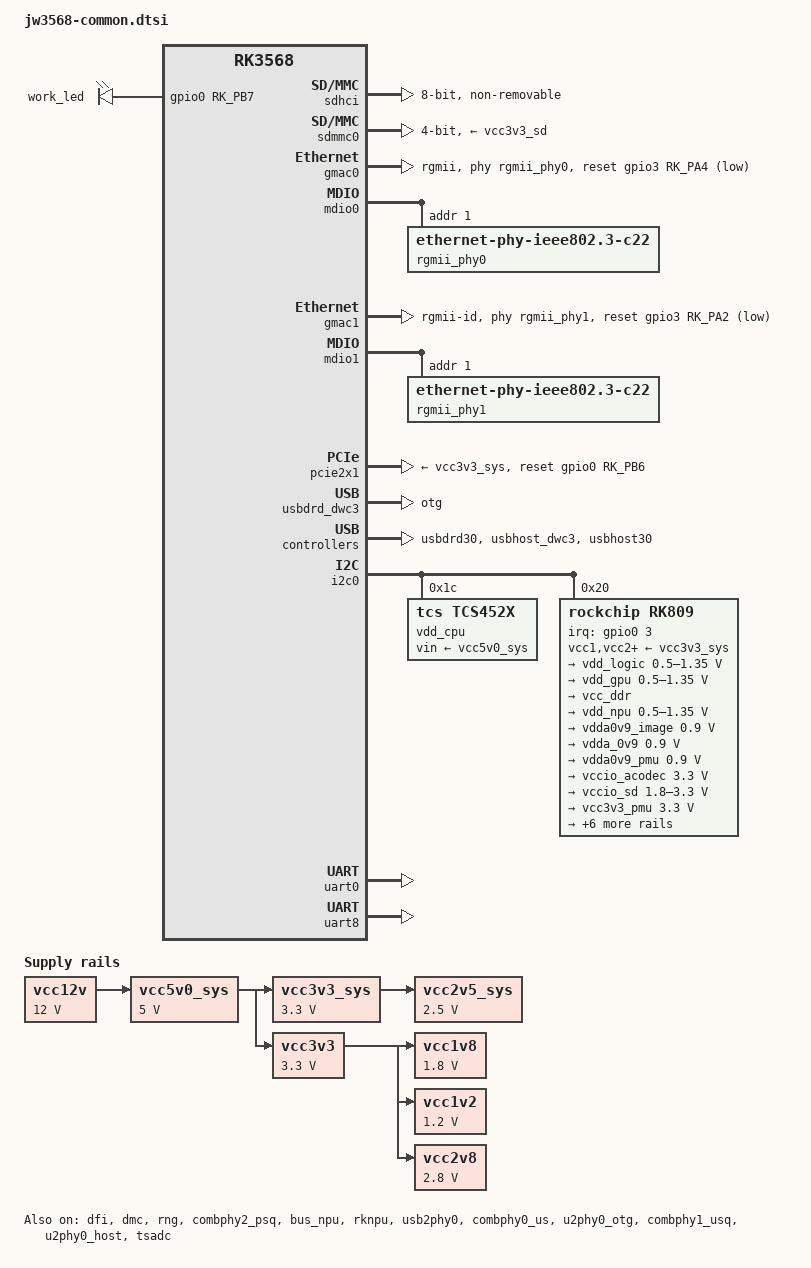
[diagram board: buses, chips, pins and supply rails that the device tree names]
/dts-v1/;

#include <dt-bindings/gpio/gpio.h>
#include <dt-bindings/pwm/pwm.h>
#include <dt-bindings/input/rk-input.h>
#include <dt-bindings/display/drm_mipi_dsi.h>
#include <dt-bindings/display/rockchip_vop.h>
#include <dt-bindings/display/media-bus-format.h>
#include "rk3568.dtsi"

/ {
	chosen: chosen {
		bootargs = "earlycon=uart8250,mmio32,0xfe660000 console=ttyFIQ0 root=PARTUUID=614e0000-0000 rw rootwait";
	};

	leds: leds {
		compatible = "gpio-leds";
		work_led: work {
			gpios = <&gpio0 RK_PB7 GPIO_ACTIVE_HIGH>;
			linux,default-trigger = "heartbeat";
		};
	};

	vcc12v: vcc-12v {
		compatible = "regulator-fixed";
		regulator-name = "vcc12v";
		regulator-always-on;
		regulator-boot-on;
		regulator-min-microvolt = <12000000>;
		regulator-max-microvolt = <12000000>;
	};

	vcc5v0_sys: vcc5v0-sys {
		compatible = "regulator-fixed";
		regulator-name = "vcc5v0_sys";
		regulator-always-on;
		regulator-boot-on;
		regulator-min-microvolt = <5000000>;
		regulator-max-microvolt = <5000000>;
		vin-supply = <&vcc12v>;
	};

	vcc3v3_sys: vcc3v3-sys {
		compatible = "regulator-fixed";
		regulator-name = "vcc3v3_sys";
		regulator-always-on;
		regulator-boot-on;
		regulator-min-microvolt = <3300000>;
		regulator-max-microvolt = <3300000>;
		vin-supply = <&vcc5v0_sys>;
	};
	
	//for main board
	vcc3v3: vcc-3v3 {
		compatible = "regulator-fixed";
		regulator-name = "vcc3v3";
		regulator-always-on;
		regulator-boot-on;
		regulator-min-microvolt = <3300000>;
		regulator-max-microvolt = <3300000>;
		vin-supply = <&vcc5v0_sys>;
	};

	vcc1v8: vcc-1v8 {
		compatible = "regulator-fixed";
		regulator-name = "vcc1v8";
		regulator-always-on;
		regulator-boot-on;
		regulator-min-microvolt = <1800000>;
		regulator-max-microvolt = <1800000>;
		vin-supply = <&vcc3v3>;
	};

	vcc1v2: vcc-1v2 {
		compatible = "regulator-fixed";
		regulator-name = "vcc1v2";
		regulator-always-on;
		regulator-boot-on;
		regulator-min-microvolt = <1200000>;
		regulator-max-microvolt = <1200000>;
		vin-supply = <&vcc3v3>;
	};

	vcc2v8: vcc-2v8 {
		compatible = "regulator-fixed";
		regulator-name = "vcc2v8";
		regulator-always-on;
		regulator-boot-on;
		regulator-min-microvolt = <2800000>;
		regulator-max-microvolt = <2800000>;
		vin-supply = <&vcc3v3>;
	};

	vcc2v5_sys: vcc2v5-ddr {
		compatible = "regulator-fixed";
		regulator-name = "vcc2v5-sys";
		regulator-always-on;
		regulator-boot-on;
		regulator-min-microvolt = <2500000>;
		regulator-max-microvolt = <2500000>;
		vin-supply = <&vcc3v3_sys>;
	};

	fiq-debugger {
		compatible = "rockchip,fiq-debugger";
		rockchip,serial-id = <2>;
		rockchip,wake-irq = <0>;
		/* If enable uart uses irq instead of fiq */
		rockchip,irq-mode-enable = <1>;
		rockchip,baudrate = <115200>;  /* Only 115200 and 1500000 */
		interrupts = <GIC_SPI 252 IRQ_TYPE_LEVEL_LOW>;
		pinctrl-names = "default";
		pinctrl-0 = <&uart2m0_xfer>;
		status = "okay";
	};

	debug: debug@fd904000 {
		compatible = "rockchip,debug";
		reg = <0x0 0xfd904000 0x0 0x1000>,
			<0x0 0xfd905000 0x0 0x1000>,
			<0x0 0xfd906000 0x0 0x1000>,
			<0x0 0xfd907000 0x0 0x1000>;
	};

	cspmu: cspmu@fd90c000 {
		compatible = "rockchip,cspmu";
		reg = <0x0 0xfd90c000 0x0 0x1000>,
			<0x0 0xfd90d000 0x0 0x1000>,
			<0x0 0xfd90e000 0x0 0x1000>,
			<0x0 0xfd90f000 0x0 0x1000>;
	};

};

 /*
  * There are 10 independent IO domains in RK3566/RK3568, including PMUIO[0:2] and VCCIO[1:7].
  * 1/ PMUIO0 and PMUIO1 are fixed-level power domains which cannot be configured;
  * 2/ PMUIO2 and VCCIO1,VCCIO[3:7] domains require that their hardware power supply voltages
  *    must be consistent with the software configuration correspondingly
  *	a/ When the hardware IO level is connected to 1.8V, the software voltage configuration
  *	   should also be configured to 1.8V accordingly;
  *	b/ When the hardware IO level is connected to 3.3V, the software voltage configuration
  *	   should also be configured to 3.3V accordingly;
  * 3/ VCCIO2 voltage control selection (0xFDC20140)
  *	BIT[0]: 0x0: from GPIO_0A7 (default)
  *	BIT[0]: 0x1: from GRF
  *    Default is determined by Pin FLASH_VOL_SEL/GPIO0_A7:
  *	L:VCCIO2 must supply 3.3V
  *	H:VCCIO2 must supply 1.8V
  */
&pmu_io_domains {
	status = "okay";
	pmuio1-supply = <&vcc3v3_pmu>;
	pmuio2-supply = <&vcc3v3_pmu>;
	vccio1-supply = <&vccio_acodec>;
	vccio3-supply = <&vccio_sd>;
	vccio4-supply = <&vcc_1v8>;
	vccio5-supply = <&vcc_3v3>;
	vccio6-supply = <&vcc_1v8>;
	vccio7-supply = <&vcc_3v3>;
};

&pinctrl {
	pmic {
		pmic_int: pmic_int {
			rockchip,pins =
				<0 RK_PA3 RK_FUNC_GPIO &pcfg_pull_up>;
		};

		soc_slppin_gpio: soc_slppin_gpio {
			rockchip,pins =
				<0 RK_PA2 RK_FUNC_GPIO &pcfg_output_low_pull_down>;
		};

		soc_slppin_slp: soc_slppin_slp {
			rockchip,pins =
				<0 RK_PA2 1 &pcfg_pull_up>;
		};

		soc_slppin_rst: soc_slppin_rst {
			rockchip,pins =
				<0 RK_PA2 2 &pcfg_pull_none>;
		};
	};
};

&cpu0 {
	cpu-supply = <&vdd_cpu>;
};

&dfi {
	status = "okay";
};

&dmc {
	center-supply = <&vdd_logic>;
	status = "okay";
};

&reserved_memory {
	ramoops: ramoops@110000 {
		compatible = "ramoops";
		reg = <0x0 0x110000 0x0 0xf0000>;
		record-size = <0x20000>;
		console-size = <0x80000>;
		ftrace-size = <0x00000>;
		pmsg-size = <0x50000>;
	};
};

&xin32k {
	status = "disabled";
};

&sdhci {
	bus-width = <8>;
	supports-emmc;
	non-removable;
	max-frequency = <200000000>;
	status = "okay";
};

&sdmmc0 {
	max-frequency = <150000000>;
	supports-sd;
	bus-width = <4>;
	cap-mmc-highspeed;
	cap-sd-highspeed;
	disable-wp;
	sd-uhs-sdr104;
	vmmc-supply = <&vcc3v3_sd>;
	vqmmc-supply = <&vccio_sd>;
	pinctrl-names = "default";
	pinctrl-0 = <&sdmmc0_bus4 &sdmmc0_clk &sdmmc0_cmd &sdmmc0_det>;
	status = "okay";
};

&rng {
	status = "okay";
};

&rockchip_suspend {
	status = "okay";
};

&gmac0 {
	phy-mode = "rgmii";
	clock_in_out = "output";

	snps,reset-gpio = <&gpio3 RK_PA4 GPIO_ACTIVE_LOW>;
	snps,reset-active-low;
	/* Reset time is 20ms, 100ms for rtl8211f */
	snps,reset-delays-us = <0 20000 100000>;

	assigned-clocks = <&cru SCLK_GMAC0_RX_TX>, <&cru SCLK_GMAC0>, <&cru CLK_MAC0_OUT>;
	assigned-clock-parents = <&cru SCLK_GMAC0_RGMII_SPEED>;
	assigned-clock-rates = <0>, <125000000>, <25000000>;

	pinctrl-names = "default";
	pinctrl-0 = <&gmac0_miim
		     &gmac0_tx_bus2
		     &gmac0_rx_bus2
		     &gmac0_rgmii_clk
		     &gmac0_rgmii_bus
			 &eth0_pins>;

	tx_delay = <0x2f>;
	rx_delay = <0x00>;

	phy-handle = <&rgmii_phy0>;
	// status = "okay";
};

&mdio0 {
	rgmii_phy0: phy@1 {
		compatible = "ethernet-phy-ieee802.3-c22";
		reg = <0x1>;
		clocks = <&cru CLK_MAC0_OUT>;
	};
};

&gmac1 {
	phy-mode = "rgmii-id";
	clock_in_out = "output";

	snps,reset-gpio = <&gpio3 RK_PA2 GPIO_ACTIVE_LOW>;
	snps,reset-active-low;
	/* Reset time is 20ms, 100ms for rtl8211f */
	snps,reset-delays-us = <0 20000 100000>;

	assigned-clocks = <&cru SCLK_GMAC1_RX_TX>, <&cru SCLK_GMAC1>, <&cru CLK_MAC1_OUT>;
	assigned-clock-parents = <&cru SCLK_GMAC1_RGMII_SPEED>;
	assigned-clock-rates = <0>, <125000000>, <25000000>;

	pinctrl-names = "default";
	pinctrl-0 = <&gmac1m1_miim
		     &gmac1m1_tx_bus2
		     &gmac1m1_rx_bus2
		     &gmac1m1_rgmii_clk
		     &gmac1m1_rgmii_bus
			 &eth1m1_pins>;

	tx_delay = <0x00>;
	rx_delay = <0x00>;

	phy-handle = <&rgmii_phy1>;
	status = "okay";
};

&mdio1 {
	rgmii_phy1: phy@1 {
		compatible = "ethernet-phy-ieee802.3-c22";
		reg = <0x1>;
		clocks = <&cru CLK_MAC1_OUT>;
	};
};

// pcie 2.0
&combphy2_psq {
	status = "okay";
};

&pcie2x1 {
	reset-gpios = <&gpio0 RK_PB6 GPIO_ACTIVE_HIGH>;
	vpcie3v3-supply = <&vcc3v3_sys>;
  status = "okay";
};

// npu
&bus_npu {
	bus-supply = <&vdd_logic>;
	pvtm-supply = <&vdd_cpu>;
	status = "okay";
};

&rknpu {
	rknpu-supply = <&vdd_npu>;
	status = "okay";
};

&rknpu_mmu {
	status = "okay";
};

// usb3.0 flashing port
&usb2phy0 {
	status = "okay";
};

&combphy0_us {
	status = "okay";
};

&u2phy0_otg {
	status = "okay";
};

&usbdrd_dwc3 {
	dr_mode = "otg";
	extcon = <&usb2phy0>;
	status = "okay";
};

&usbdrd30 {
	status = "okay";
};

// usb3.0 host port
&usb2phy0 {
	status = "okay";
};

&combphy1_usq {
	status = "okay";
};

&u2phy0_host {
	status = "okay";
};

&usbhost_dwc3 {
	status = "okay";
};

&usbhost30 {
	status = "okay";
};

// for SoM board chip: rk809
&i2c0 {
	status = "okay";

	vdd_cpu: tcs4525@1c {
		compatible = "tcs,tcs452x";
		reg = <0x1c>;
		vin-supply = <&vcc5v0_sys>;
		regulator-compatible = "fan53555-reg";
		regulator-name = "vdd_cpu";
		regulator-min-microvolt = <712500>;
		regulator-max-microvolt = <1390000>;
		regulator-init-microvolt = <900000>;
		regulator-ramp-delay = <2300>;
		fcs,suspend-voltage-selector = <1>;
		regulator-boot-on;
		regulator-always-on;
		regulator-state-mem {
			regulator-off-in-suspend;
		};
	};

	rk809: pmic@20 {
		compatible = "rockchip,rk809";
		reg = <0x20>;
		interrupt-parent = <&gpio0>;
		interrupts = <3 IRQ_TYPE_LEVEL_LOW>;

		pinctrl-names = "default", "pmic-sleep",
				"pmic-power-off", "pmic-reset";
		pinctrl-0 = <&pmic_int>;
		pinctrl-1 = <&soc_slppin_slp>, <&rk817_slppin_slp>;
		pinctrl-2 = <&soc_slppin_gpio>, <&rk817_slppin_pwrdn>;
		pinctrl-3 = <&soc_slppin_gpio>, <&rk817_slppin_rst>;

		rockchip,system-power-controller;
		wakeup-source;
		#clock-cells = <1>;
		clock-output-names = "rk808-clkout1", "rk808-clkout2";
		//fb-inner-reg-idxs = <2>;
		/* 1: rst regs (default in codes), 0: rst the pmic */
		pmic-reset-func = <0>;
		/* not save the PMIC_POWER_EN register in uboot */
		not-save-power-en = <1>;

		vcc1-supply = <&vcc3v3_sys>;
		vcc2-supply = <&vcc3v3_sys>;
		vcc3-supply = <&vcc3v3_sys>;
		vcc4-supply = <&vcc3v3_sys>;
		vcc5-supply = <&vcc3v3_sys>;
		vcc6-supply = <&vcc3v3_sys>;
		vcc7-supply = <&vcc3v3_sys>;
		vcc8-supply = <&vcc3v3_sys>;
		vcc9-supply = <&vcc3v3_sys>;

		pwrkey {
			status = "okay";
		};

		pinctrl_rk8xx: pinctrl_rk8xx {
			gpio-controller;
			#gpio-cells = <2>;

			rk817_slppin_null: rk817_slppin_null {
				pins = "gpio_slp";
				function = "pin_fun0";
			};

			rk817_slppin_slp: rk817_slppin_slp {
				pins = "gpio_slp";
				function = "pin_fun1";
			};

			rk817_slppin_pwrdn: rk817_slppin_pwrdn {
				pins = "gpio_slp";
				function = "pin_fun2";
			};

			rk817_slppin_rst: rk817_slppin_rst {
				pins = "gpio_slp";
				function = "pin_fun3";
			};
		};

		regulators {
			vdd_logic: DCDC_REG1 {
				regulator-always-on;
				regulator-boot-on;
				regulator-min-microvolt = <500000>;
				regulator-max-microvolt = <1350000>;
				regulator-init-microvolt = <900000>;
				regulator-ramp-delay = <6001>;
				regulator-initial-mode = <0x2>;
				regulator-name = "vdd_logic";
				regulator-state-mem {
					regulator-off-in-suspend;
				};
			};

			vdd_gpu: DCDC_REG2 {
				regulator-always-on;
				regulator-boot-on;
				regulator-min-microvolt = <500000>;
				regulator-max-microvolt = <1350000>;
				regulator-init-microvolt = <900000>;
				regulator-ramp-delay = <6001>;
				regulator-initial-mode = <0x2>;
				regulator-name = "vdd_gpu";
				regulator-state-mem {
					regulator-off-in-suspend;
				};
			};

			vcc_ddr: DCDC_REG3 {
				regulator-always-on;
				regulator-boot-on;
				regulator-initial-mode = <0x2>;
				regulator-name = "vcc_ddr";
				regulator-state-mem {
					regulator-on-in-suspend;
				};
			};

			vdd_npu: DCDC_REG4 {
				regulator-always-on;
				regulator-boot-on;
				regulator-min-microvolt = <500000>;
				regulator-max-microvolt = <1350000>;
				regulator-init-microvolt = <900000>;
				regulator-ramp-delay = <6001>;
				regulator-initial-mode = <0x2>;
				regulator-name = "vdd_npu";
				regulator-state-mem {
					regulator-off-in-suspend;
				};
			};

			vdda0v9_image: LDO_REG1 {
				regulator-boot-on;
				regulator-always-on;
				regulator-min-microvolt = <900000>;
				regulator-max-microvolt = <900000>;
				regulator-name = "vdda0v9_image";
				regulator-state-mem {
					regulator-off-in-suspend;
				};
			};

			vdda_0v9: LDO_REG2 {
				regulator-always-on;
				regulator-boot-on;
				regulator-min-microvolt = <900000>;
				regulator-max-microvolt = <900000>;
				regulator-name = "vdda_0v9";
				regulator-state-mem {
					regulator-off-in-suspend;
				};
			};

			vdda0v9_pmu: LDO_REG3 {
				regulator-always-on;
				regulator-boot-on;
				regulator-min-microvolt = <900000>;
				regulator-max-microvolt = <900000>;
				regulator-name = "vdda0v9_pmu";
				regulator-state-mem {
					regulator-on-in-suspend;
					regulator-suspend-microvolt = <900000>;
				};
			};

			vccio_acodec: LDO_REG4 {
				regulator-always-on;
				regulator-boot-on;
				regulator-min-microvolt = <3300000>;
				regulator-max-microvolt = <3300000>;
				regulator-name = "vccio_acodec";
				regulator-state-mem {
					regulator-off-in-suspend;
				};
			};

			vccio_sd: LDO_REG5 {
				regulator-always-on;
				regulator-boot-on;
				regulator-min-microvolt = <1800000>;
				regulator-max-microvolt = <3300000>;
				regulator-name = "vccio_sd";
				regulator-state-mem {
					regulator-off-in-suspend;
				};
			};

			vcc3v3_pmu: LDO_REG6 {
				regulator-always-on;
				regulator-boot-on;
				regulator-min-microvolt = <3300000>;
				regulator-max-microvolt = <3300000>;
				regulator-name = "vcc3v3_pmu";
				regulator-state-mem {
					regulator-on-in-suspend;
					regulator-suspend-microvolt = <3300000>;
				};
			};

			vcca_1v8: LDO_REG7 {
				regulator-always-on;
				regulator-boot-on;
				regulator-min-microvolt = <1800000>;
				regulator-max-microvolt = <1800000>;
				regulator-name = "vcca_1v8";
				regulator-state-mem {
					regulator-off-in-suspend;
				};
			};

			vcca1v8_pmu: LDO_REG8 {
				regulator-always-on;
				regulator-boot-on;
				regulator-min-microvolt = <1800000>;
				regulator-max-microvolt = <1800000>;
				regulator-name = "vcca1v8_pmu";
				regulator-state-mem {
					regulator-on-in-suspend;
					regulator-suspend-microvolt = <1800000>;
				};
			};

			vcca1v8_image: LDO_REG9 {
				regulator-always-on;
				regulator-boot-on;
				regulator-min-microvolt = <1800000>;
				regulator-max-microvolt = <1800000>;
				regulator-name = "vcca1v8_image";
				regulator-state-mem {
					regulator-off-in-suspend;
				};
			};

			vcc_1v8: DCDC_REG5 {
				regulator-always-on;
				regulator-boot-on;
				regulator-min-microvolt = <1800000>;
				regulator-max-microvolt = <1800000>;
				regulator-name = "vcc_1v8";
				regulator-state-mem {
					regulator-off-in-suspend;
				};
			};

			vcc_3v3: SWITCH_REG1 {
				regulator-always-on;
				regulator-boot-on;
				regulator-name = "vcc_3v3";
				regulator-state-mem {
					regulator-off-in-suspend;
				};
			};

			vcc3v3_sd: SWITCH_REG2 {
				regulator-always-on;
				regulator-boot-on;
				regulator-name = "vcc3v3_sd";
				regulator-state-mem {
					regulator-off-in-suspend;
				};
			};
		};

		rk809_codec: codec {
			#sound-dai-cells = <0>;
			compatible = "rockchip,rk809-codec", "rockchip,rk817-codec";
			clocks = <&cru I2S1_MCLKOUT>;
			clock-names = "mclk";
			assigned-clocks = <&cru I2S1_MCLKOUT>, <&cru I2S1_MCLK_TX_IOE>;
			assigned-clock-rates = <12288000>;
			assigned-clock-parents = <&cru I2S1_MCLKOUT_TX>, <&cru I2S1_MCLKOUT_TX>;
			pinctrl-names = "default";
			pinctrl-0 = <&i2s1m0_mclk>;
			hp-volume = <20>;
			spk-volume = <3>;
			mic-in-differential;
			status = "okay";
		};
	};
};

// for RTC in the future?
// &i2c3 {
	// status = "okay";

	// rx8010: rx8010@32 {
	// 	compatible = "epson,rx8010";
	// 	reg = <0x32>;
	// };

	// pcf8563: pcf8563@51 {
	// 	compatible = "nxp,pcf8563";
	// 	reg = <0x51>;
	// 	#clock-cells = <0>;
	// };
// };

// for internal rs485 without auto duplexing
// [todo] cts needed in driver?
&uart0 {
	status = "okay";
	pinctrl-0 = <&uart0_xfer &uart0_ctsn &uart0_rtsn>;
  cts-override;
};

// for external rs485 with optional auto duplexing
&uart8 {
	status = "okay";
	pinctrl-0 = <&uart8m0_xfer &uart8m0_ctsn &uart8m0_rtsn>;
  cts-override;
};

//
&tsadc {
	status = "okay";
};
